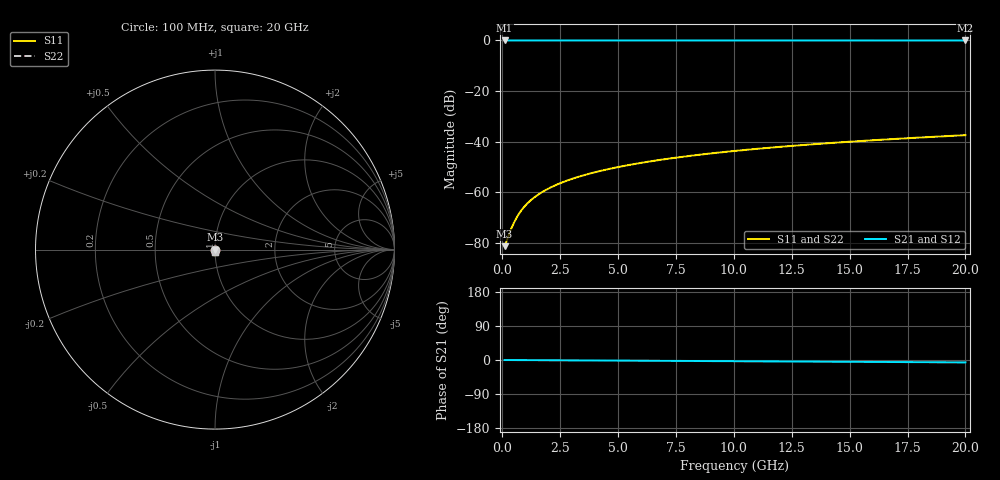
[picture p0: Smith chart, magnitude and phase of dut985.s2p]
! Touchstone file exported from HFSS 2026.1.0
!  File:  C:/ffzhzh/LocalFiles/Ansys_Project_Files/temp_train_TSV_985_1783188080_43440.aedt
!  Generated:  02:02:47 AM Jul  5, 2026
!  Design:  TSV
!  Project:  temp_train_TSV_985_1783188080_43440
! Variables:
!  h_bsmrdl = 2um
!  h_ox = 20um
!  h_rdl = 5um
!  h_sub = 61.17um
!  h_tmrdl = 5um
!  h_tsv = 61.17um
!  h_via = 3um
!  l_bsmrdl = 300um
!  l_sub = 424.6um
!  l_tmrdl = 200um
!  m_sub = 200um
!  pitch = 43.52um
!  r_tsv = 12.3um
!  s_tmrdl = 10um
!  w_bsmrdl = 18um
!  w_sub = 500um
!  w_tmrdl = 12um
!  x_tsv_center1 = 206um
!  x_tsv_center2 = 524um
!  x_tsv_center3 = 736um
!  x_tsv_center4 = 1054um
!  x_tsv_center5 = 1266um
!  x_tsv_center6 = 1584um
# GHz S MA R 50.000000
! Terminal data exported
! Port[1] = TSV1_1_T1
! Port[2] = TSV1_1_T2
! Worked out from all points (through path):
!   200 points, 100 MHz to 20 GHz, reference 50 ohm
!   highest |S21| = 0.00 dB at 100 MHz (marker M1); lowest = 0.0 dB at 20 GHz (marker M2)
!   lowest |S11| = -81.3 dB at 100 MHz (marker M3), VSWR 1.00, Z = 50 - j0.00328 ohm
!   |S11| at or under -10 dB: start of sweep to end of sweep
!   |S22| runs from -81.3 to -37.4 dB; largest |S21 - S12| = 3.1e-15
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0.1  8.596e-05 -22.5  0.9999 -0.0  0.9999 -0.0  8.596e-05 -22.5
! Gamma 0 0 0 0
! Port Impedance 50 0 50 0
0.2  0.0001128 -37.3  0.9999 -0.1  0.9999 -0.1  0.0001128 -37.3
0.4  0.0001969 -51.3  0.9999 -0.1  0.9999 -0.1  0.0001969 -51.3
0.5  0.0002486 -55.1  0.9999 -0.2  0.9999 -0.2  0.0002486 -55.1
0.6  0.0003045 -58.2  0.9998 -0.2  0.9998 -0.2  0.0003045 -58.2
0.7  0.0003632 -60.7  0.9998 -0.2  0.9998 -0.2  0.0003632 -60.7
0.9  0.0004859 -64.8  0.9998 -0.3  0.9998 -0.3  0.0004859 -64.8
1.2  0.0006755 -69.2  0.9998 -0.4  0.9998 -0.4  0.0006755 -69.2
1.4  0.0008033 -71.4  0.9997 -0.5  0.9997 -0.5  0.0008033 -71.4
1.6  0.0009313 -73.2  0.9997 -0.5  0.9997 -0.5  0.0009313 -73.2
2.1  0.001252 -76.4  0.9997 -0.7  0.9997 -0.7  0.001252 -76.4
2.7  0.001637 -78.8  0.9997 -0.9  0.9997 -0.9  0.001637 -78.8
3.5  0.002156 -80.9  0.9996 -1.1  0.9996 -1.1  0.002156 -80.9
4.2  0.002615 -82.1  0.9996 -1.3  0.9996 -1.3  0.002615 -82.1
5  0.003145 -83.2  0.9995 -1.6  0.9995 -1.6  0.003145 -83.2
5.9  0.003746 -84.2  0.9995 -1.9  0.9995 -1.9  0.003746 -84.2
6.8  0.004353 -85.0  0.9994 -2.2  0.9994 -2.2  0.004353 -85.0
8.3  0.005371 -86.2  0.9994 -2.6  0.9994 -2.6  0.005371 -86.2
10.1  0.0066 -87.5  0.9993 -3.2  0.9993 -3.2  0.0066 -87.5
13.4  0.008864 -89.4  0.9992 -4.2  0.9992 -4.2  0.008864 -89.4
16.7  0.01114 -90.9  0.9991 -5.3  0.9991 -5.3  0.01114 -90.9
20  0.01343 -92.3  0.999 -6.3  0.999 -6.3  0.01343 -92.3
